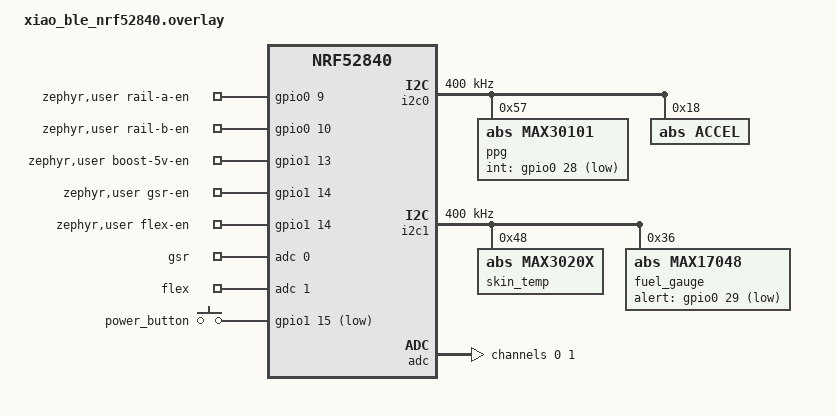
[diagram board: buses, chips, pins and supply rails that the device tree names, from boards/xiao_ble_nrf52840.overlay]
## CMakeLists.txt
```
cmake_minimum_required(VERSION 3.20.0)
find_package(Zephyr REQUIRED HINTS $ENV{ZEPHYR_BASE})

project(wrist_app LANGUAGES C)

target_include_directories(app PRIVATE include)

target_sources(app PRIVATE
	src/main.c

	src/core/acq.c
	src/core/proc.c
	src/core/packager.c
	src/core/health.c
	src/core/mode.c
	src/core/power.c
	src/core/supervisor.c
	src/core/channels.c
	src/core/record.c
	src/core/counters.c
	src/core/persist.c
	src/core/watchdog.c
	src/core/leds.c

	src/sensors/board.c
	src/sensors/ppg.c
	src/sensors/accel.c
	src/sensors/skin_temp.c
	src/sensors/gsr.c
	src/sensors/flex.c
	src/sensors/fuel_gauge.c

	src/processing/validate.c
	src/processing/hr.c
	src/processing/motion.c
	src/processing/resp.c
	src/processing/core_temp.c
	src/processing/skin_temp_proc.c
	src/processing/gsr_proc.c

	src/comms/ble.c
	src/comms/ble_svc.c

	src/storage/storage.c
)

target_sources_ifdef(CONFIG_APP_SHELL app PRIVATE src/core/shell.c)

# The driver layer: real register-level drivers, or the fake generators that
# implement the same include/app/drv/*.h interfaces (see ARCHITECTURE.md §5, §11).
if(CONFIG_APP_FAKE_SENSORS)
	target_sources(app PRIVATE src/sim/fake_sensors.c)
else()
	target_sources(app PRIVATE
		src/drivers/max30101.c
		src/drivers/max3020x.c
		src/drivers/max17048.c
		src/drivers/analog_saadc.c
	)
	target_sources_ifdef(CONFIG_APP_ACCEL_PART_NONE app PRIVATE src/drivers/accel_none.c)
endif()

target_sources_ifdef(CONFIG_APP_STORAGE_BACKEND_NOR app PRIVATE src/storage/storage_nor.c)
target_sources_ifdef(CONFIG_APP_STORAGE_BACKEND_SD app PRIVATE src/storage/storage_sd.c)
```

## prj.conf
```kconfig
# Common configuration for every build. Debug-only options go in debug.conf,
# battery-run options in release.conf. See ARCHITECTURE.md.

# --- Kernel ---------------------------------------------------------------
# No heap: everything is static (ARCHITECTURE.md §3.1).
CONFIG_HEAP_MEM_POOL_SIZE=0
# main() becomes the supervisor thread after init: lowest app priority.
CONFIG_MAIN_THREAD_PRIORITY=10
CONFIG_MAIN_STACK_SIZE=2048
CONFIG_EVENTS=y
# proc uses floats; more than one thread may touch FP registers.
CONFIG_FPU=y
CONFIG_FPU_SHARING=y

# --- Messaging ------------------------------------------------------------
CONFIG_ZBUS=y

# --- Peripherals ----------------------------------------------------------
CONFIG_GPIO=y
CONFIG_I2C=y
# A stuck bus must not stall the other bus for long (ARCHITECTURE.md D2).
CONFIG_I2C_NRFX_TRANSFER_TIMEOUT=20
CONFIG_ADC=y
CONFIG_INPUT=y

# --- Low power -------------------------------------------------------------
CONFIG_PM_DEVICE=y
CONFIG_PM_DEVICE_RUNTIME=y
CONFIG_POWEROFF=y
# 32 kHz from the crystal (the XIAO has one). TODO(Raytac board): if the
# module has no crystal, use CONFIG_CLOCK_CONTROL_NRF_K32SRC_RC=y instead.
CONFIG_CLOCK_CONTROL_NRF_K32SRC_XTAL=y

# --- Reliability -----------------------------------------------------------
CONFIG_WATCHDOG=y
CONFIG_TASK_WDT=y
CONFIG_TASK_WDT_HW_FALLBACK=y
CONFIG_TASK_WDT_CHANNELS=8
CONFIG_HWINFO=y
CONFIG_REBOOT=y
CONFIG_CRC=y

# --- Persistence (boot count, mode) on internal flash -----------------------
CONFIG_FLASH=y
CONFIG_FLASH_MAP=y
CONFIG_NVS=y
CONFIG_SETTINGS=y
CONFIG_SETTINGS_NVS=y

# --- BLE peripheral ----------------------------------------------------------
CONFIG_BT=y
CONFIG_BT_PERIPHERAL=y
CONFIG_BT_DEVICE_NAME="Wrist"
CONFIG_BT_MAX_CONN=1
# A 32-byte record needs ATT MTU >= 35 (ARCHITECTURE.md D6). The ACL
# buffers between host and controller must be big enough to carry it.
CONFIG_BT_L2CAP_TX_MTU=65
CONFIG_BT_BUF_ACL_RX_SIZE=69
CONFIG_BT_BUF_ACL_TX_SIZE=69
# Preferred connection parameters: 500 ms interval, latency 8, 12 s timeout.
CONFIG_BT_GAP_AUTO_UPDATE_CONN_PARAMS=y
CONFIG_BT_PERIPHERAL_PREF_MIN_INT=400
CONFIG_BT_PERIPHERAL_PREF_MAX_INT=400
CONFIG_BT_PERIPHERAL_PREF_LATENCY=8
CONFIG_BT_PERIPHERAL_PREF_TIMEOUT=1200
```

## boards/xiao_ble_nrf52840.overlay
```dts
/*
 * Seeed XIAO nRF52840 (plain, not Sense) on the wrist breakout.
 * Pin map: README.md "XIAO breakout pin map (proposed)".
 *
 * Code only references the labels and zephyr,user properties defined here,
 * so the Raytac wrist board gets its own board files and no source changes.
 */

#include <zephyr/dt-bindings/input/input-event-codes.h>
#include <zephyr/dt-bindings/adc/nrf-saadc.h>

/ {
	zephyr,user {
		/* Per-bus sensor load switches (NFC pads on the back of the XIAO). */
		rail-a-en-gpios = <&gpio0 9 GPIO_ACTIVE_HIGH>;
		rail-b-en-gpios = <&gpio0 10 GPIO_ACTIVE_HIGH>;
		/* 5 V boost for the PPG LEDs (D8). */
		boost-5v-en-gpios = <&gpio1 13 GPIO_ACTIVE_HIGH>;
		/* GSR and flex front ends share one enable on the XIAO (D9). */
		gsr-en-gpios = <&gpio1 14 GPIO_ACTIVE_HIGH>;
		flex-en-gpios = <&gpio1 14 GPIO_ACTIVE_HIGH>;
		/* No power-hold on the XIAO: power-off falls back to System OFF. */

		io-channels = <&adc 0>, <&adc 1>;
		io-channel-names = "gsr", "flex";
	};

	buttons: buttons {
		compatible = "gpio-keys";

		power_button: power_button {
			/* D10, to GND. */
			gpios = <&gpio1 15 (GPIO_PULL_UP | GPIO_ACTIVE_LOW)>;
			zephyr,code = <INPUT_KEY_0>;
		};
	};

	longpress: longpress {
		compatible = "zephyr,input-longpress";
		input = <&buttons>;
		input-codes = <INPUT_KEY_0>;
		short-codes = <INPUT_KEY_A>;
		long-codes = <INPUT_KEY_POWER>;
		long-delay-ms = <3000>;
	};

	/* The red LED pin is also routed to pwm0; we drive it as plain GPIO. */
	pwmleds {
		status = "disabled";
	};
};

/* NFC pads as GPIO (rail enables). */
&uicr {
	nfct-pins-as-gpios;
};

/* D6/D7 become I2C bus A and D8-D10 are GPIO, so the header UART, SPI and
 * PWM are off. The console is on USB CDC ACM, not uart0.
 */
&uart0 {
	status = "disabled";
};

&spi2 {
	status = "disabled";
};

&pwm0 {
	status = "disabled";
};

&i2c0_default {
	group1 {
		psels = <NRF_PSEL(TWIM_SDA, 1, 11)>,
			<NRF_PSEL(TWIM_SCL, 1, 12)>;
	};
};

&i2c0_sleep {
	group1 {
		psels = <NRF_PSEL(TWIM_SDA, 1, 11)>,
			<NRF_PSEL(TWIM_SCL, 1, 12)>;
		low-power-enable;
	};
};

/* I2C bus A (TWIM0): PPG + accelerometer. D6 = SDA, D7 = SCL. */
&i2c0 {
	compatible = "nordic,nrf-twim";
	status = "okay";
	clock-frequency = <I2C_BITRATE_FAST>;
	pinctrl-0 = <&i2c0_default>;
	pinctrl-1 = <&i2c0_sleep>;
	pinctrl-names = "default", "sleep";
	zephyr,pm-device-runtime-auto;

	ppg: max30101@57 {
		compatible = "abs,max30101";
		reg = <0x57>;
		/* D2. Open-drain, active low. */
		int-gpios = <&gpio0 28 (GPIO_ACTIVE_LOW | GPIO_PULL_UP)>;
	};

	accel: accel@18 {
		compatible = "abs,accel";
		/* TODO(open decision #1): address depends on the part. INT not
		 * routed on the XIAO breakout.
		 */
		reg = <0x18>;
	};
};

/* I2C bus B (TWIM1): skin temp + fuel gauge. D4 = SDA, D5 = SCL (board default pins). */
&i2c1 {
	compatible = "nordic,nrf-twim";
	status = "okay";
	clock-frequency = <I2C_BITRATE_FAST>;
	zephyr,pm-device-runtime-auto;

	skin_temp: max3020x@48 {
		compatible = "abs,max3020x";
		reg = <0x48>;
	};

	fuel_gauge: max17048@36 {
		compatible = "abs,max17048";
		reg = <0x36>;
		/* D3. */
		alert-gpios = <&gpio0 29 (GPIO_ACTIVE_LOW | GPIO_PULL_UP)>;
	};
};

&adc {
	#address-cells = <1>;
	#size-cells = <0>;
	zephyr,pm-device-runtime-auto;

	/* GSR: D0 / AIN0. */
	channel@0 {
		reg = <0>;
		zephyr,gain = "ADC_GAIN_1_6";
		zephyr,reference = "ADC_REF_INTERNAL";
		zephyr,acquisition-time = <ADC_ACQ_TIME_DEFAULT>;
		zephyr,input-positive = <NRF_SAADC_AIN0>;
		zephyr,resolution = <12>;
	};

	/* Flex: D1 / AIN1. */
	channel@1 {
		reg = <1>;
		zephyr,gain = "ADC_GAIN_1_6";
		zephyr,reference = "ADC_REF_INTERNAL";
		zephyr,acquisition-time = <ADC_ACQ_TIME_DEFAULT>;
		zephyr,input-positive = <NRF_SAADC_AIN1>;
		zephyr,resolution = <12>;
	};
};

&qspi {
	zephyr,pm-device-runtime-auto;
};

/* Record log: the whole 2 MB P25Q16H (ARCHITECTURE.md §9). */
&p25q16h {
	partitions {
		compatible = "fixed-partitions";
		#address-cells = <1>;
		#size-cells = <1>;

		log_partition: partition@0 {
			label = "log";
			reg = <0x00000000 0x00200000>;
		};
	};
};
```

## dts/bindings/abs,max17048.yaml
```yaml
description: |
  MAX17048 fuel gauge, used through the app's own thin driver
  (src/drivers/max17048.c): the in-tree fuel_gauge driver has no ALRT support.

compatible: "abs,max17048"

include: i2c-device.yaml

properties:
  alert-gpios:
    type: phandle-array
    description: ALRT output (open-drain, active low).
```

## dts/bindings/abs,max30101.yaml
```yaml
description: |
  MAX30101 PPG sensor, used through the app's own thin driver
  (src/drivers/max30101.c), not the in-tree maxim,max30101 driver.
  See ARCHITECTURE.md section 5 for why.

compatible: "abs,max30101"

include: i2c-device.yaml

properties:
  int-gpios:
    type: phandle-array
    required: true
    description: FIFO-almost-full interrupt (open-drain, active low).
```

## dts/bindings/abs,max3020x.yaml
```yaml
description: |
  MAX30205 or MAX30208 skin temperature sensor (open decision 2; the part is
  chosen by CONFIG_APP_SKIN_TEMP_*). Accessed through include/app/drv/temp_drv.h.

compatible: "abs,max3020x"

include: i2c-device.yaml
```

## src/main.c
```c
/*
 * Wrist module firmware: init in a fixed order, start the threads, then
 * become the supervisor (ARCHITECTURE.md §12).
 *
 * Nothing in init is fatal. A sensor, settings or storage failure is
 * logged and reflected in health/records, and the board keeps running:
 * a degraded wrist module that still reports is worth more than a
 * reboot loop.
 */

#include <zephyr/kernel.h>
#include <zephyr/logging/log.h>

#include "app/comms/ble.h"
#include "app/core/acq.h"
#include "app/core/health.h"
#include "app/core/leds.h"
#include "app/core/mode.h"
#include "app/core/packager.h"
#include "app/core/persist.h"
#include "app/core/power.h"
#include "app/core/proc.h"
#include "app/core/supervisor.h"
#include "app/core/watchdog.h"
#include "app/record.h"
#include "app/storage/storage.h"

LOG_MODULE_REGISTER(main, CONFIG_APP_LOG_LEVEL);

#define CHECK(expr)                                                                                \
	do {                                                                                       \
		int _err = (expr);                                                                 \
		if (_err) {                                                                        \
			LOG_ERR("%s failed: %d", #expr, _err);                                     \
		}                                                                                  \
	} while (0)

int main(void)
{
	/* 1-2. Boot count and reset cause, before any record is built. */
	CHECK(persist_init());
	int starved = app_wdt_last_starved();

	/* 3. Record numbering for this boot. */
	record_init(persist_boot_count());

	/* 4. Watchdog first among the runtime pieces, so it covers everything after. */
	CHECK(app_wdt_init());

	/* 5. Health (sensors register their init results with it) and LEDs. */
	CHECK(health_init());
	CHECK(leds_init());

	/* 6. Storage (mount / find the head) and mode. */
	(void)storage_init(); /* failure is recorded as storage health */
	CHECK(mode_init());

	/* 7. Board power + every sensor. Failures mark sensors, never fatal. */
	CHECK(acq_init());

	/* 8. Processing modules and the packager. */
	CHECK(proc_init());
	CHECK(packager_init());

	/* 9. Button. */
	CHECK(power_init());

	/* 10. BLE stack. */
	CHECK(ble_init());

	/* 11. First record of the boot. */
	record_emit_event(REC_EVT_BOOT, 0, (uint16_t)(starved + 1), persist_reset_cause());
	if (starved >= 0) {
		LOG_WRN("last reset: task watchdog, channel %d starved", starved);
	}

	/* 12. Consumers before producers, so nothing is produced into a void. */
	storage_start();
	ble_start();
	proc_start();
	packager_start();
	health_start();
	acq_start();

	LOG_INF("wrist module running (boot #%u, mode %s)", persist_boot_count(),
		mode_name(mode_get()));

	/* 13. main becomes the supervisor thread. */
	supervisor_run();
	return 0;
}
```
